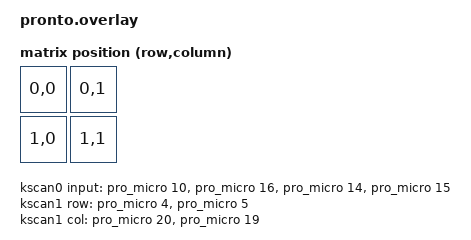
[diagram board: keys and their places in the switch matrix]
#include <dt-bindings/zmk/matrix_transform.h>
#include <dt-bindings/zmk/outputs.h> // 🟢 Requis pour le comportement de gestion de l'alimentation

/ {
    chosen {
        zmk,physical-layout = &physical_layout1;
    };

    physical_layout0: physical_layout_0 {
        compatible = "zmk,physical-layout";
        display-name = "Default Layout";
        kscan = <&kscan0>;
        transform = <&default_transform>;
    };

    physical_layout1: physical_layout1 {
        compatible = "zmk,physical-layout";
        display-name = "Alt Layout";
        kscan = <&kscan1>;
        transform = <&alt_transform>;
    };

    default_transform: keymap_transform0 {
        compatible = "zmk,matrix-transform";
        columns = <4>;
        rows = <1>;
        map = <
            RC(0,0) RC(0,1) RC(0,2) RC(0,3)
            >;
    };

    alt_transform: keymap_transform1 {
        compatible = "zmk,matrix-transform";
        columns = <2>;
        rows = <2>;
        map = <
            RC(0,0) RC(0,1)
            RC(1,0) RC(1,1)
            >;
    };

    kscan0: kscan0 {
        compatible = "zmk,kscan-gpio-direct";
        wakeup-source;
        // 🟢 CORRECTION SYNTAXE : Les crochets enveloppent chaque broche individuellement
        input-gpios
            = <&pro_micro 10 (GPIO_ACTIVE_LOW | GPIO_PULL_UP)>
            , <&pro_micro 16 (GPIO_ACTIVE_LOW | GPIO_PULL_UP)>
            , <&pro_micro 14 (GPIO_ACTIVE_LOW | GPIO_PULL_UP)>
            , <&pro_micro 15 (GPIO_ACTIVE_LOW | GPIO_PULL_UP)>
            ;
    };

    kscan1: kscan1 {
        compatible = "zmk,kscan-gpio-matrix";
        // wakeup-source; // Désactivé pour que seules les sources dédiées réveillent le contrôleur
        diode-direction = "col2row";
        col-gpios
            = <&pro_micro 20 GPIO_ACTIVE_HIGH>
            , <&pro_micro 19 GPIO_ACTIVE_HIGH>
            ;
        row-gpios
            = <&pro_micro 4 (GPIO_ACTIVE_HIGH | GPIO_PULL_DOWN)>
            , <&pro_micro 5 (GPIO_ACTIVE_HIGH | GPIO_PULL_DOWN)>
            ;
    };
    /*
    // ==========================================
    // 🟢 ACCÈS ET ACTIVATION DU SOFT OFF
    // ==========================================

    // 1. Kscan dédié uniquement au bouton physique de Soft Off (Broche 6 au GND)
    soft_off_scan: soft_off_scan {
        compatible = "zmk,kscan-gpio-direct";
        wakeup-source;
        input-gpios = <&pro_micro 6 (GPIO_ACTIVE_LOW | GPIO_PULL_UP)>;
    };

    // 2. Déclencheur sideband pour associer le kscan matériel au comportement ZMK
    side_band_behavior_triggers: side_band_behavior_triggers {
        compatible = "zmk,kscan-sideband-behaviors";
        kscan = <&soft_off_scan>;
        auto-enable;

        soft_off {
            column = <0>;
            row = <0>;
            bindings = <&hw_soft_off>;
        };
    };

    // 3. Définition du comportement de coupure logicielle (maintien de 2 secondes)
    behaviors {
        hw_soft_off: hw_soft_off {
            compatible = "zmk,behavior-soft-off";
            #binding-cells = <0>;
            split-peripheral-off-on-press; 
            hold-time-ms = <2000>; 
        };
    };

    // 4. Source principale pour sortir du mode Soft Off
    soft_off_wakers {
        compatible = "zmk,soft-off-wakeup-sources";
        wakeup-sources = <&soft_off_scan>;
    }; */
};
